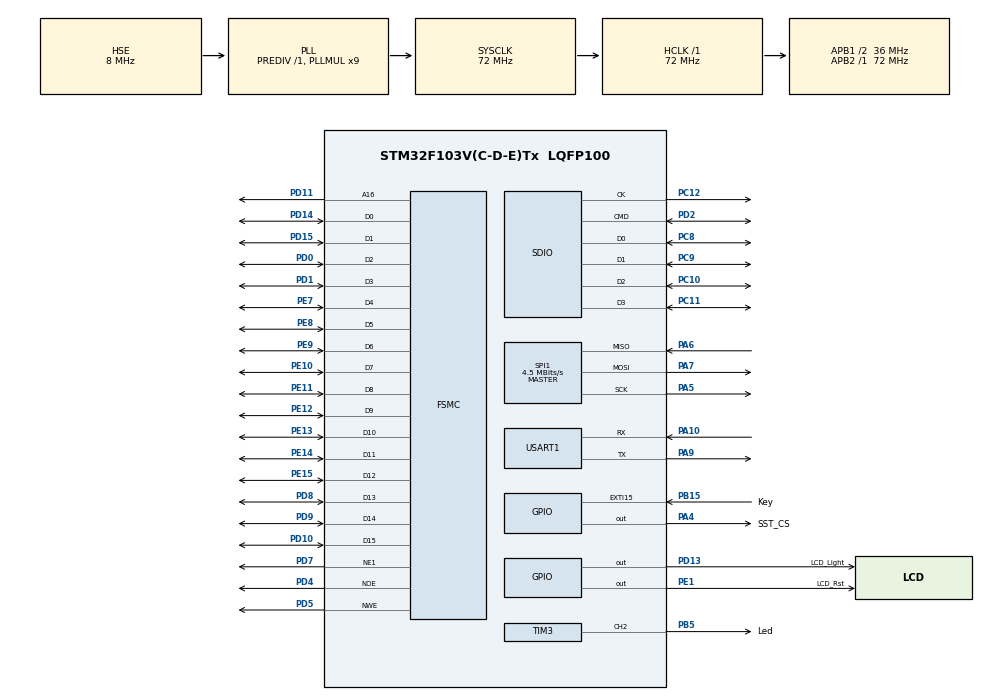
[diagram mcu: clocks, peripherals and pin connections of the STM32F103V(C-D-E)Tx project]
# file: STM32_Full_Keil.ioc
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ADC1.Channel-0\#ChannelRegularConversion=ADC_CHANNEL_TEMPSENSOR
ADC1.NbrOfConversionFlag=1
ADC1.Rank-0\#ChannelRegularConversion=1
ADC1.SamplingTime-0\#ChannelRegularConversion=ADC_SAMPLETIME_7CYCLES_5
ADC1.master=1
Dma.ADC1.2.Direction=DMA_PERIPH_TO_MEMORY
Dma.ADC1.2.Instance=DMA1_Channel1
Dma.ADC1.2.MemDataAlignment=DMA_MDATAALIGN_HALFWORD
Dma.ADC1.2.MemInc=DMA_MINC_ENABLE
Dma.ADC1.2.Mode=DMA_CIRCULAR
Dma.ADC1.2.PeriphDataAlignment=DMA_PDATAALIGN_HALFWORD
Dma.ADC1.2.PeriphInc=DMA_PINC_DISABLE
Dma.ADC1.2.Priority=DMA_PRIORITY_HIGH
Dma.Request0=USART1_RX
Dma.Request1=USART1_TX
Dma.Request2=ADC1
Dma.USART1_RX.0.Direction=DMA_PERIPH_TO_MEMORY
Dma.USART1_RX.0.Instance=DMA1_Channel5
Dma.USART1_RX.0.MemDataAlignment=DMA_MDATAALIGN_BYTE
Dma.USART1_RX.0.MemInc=DMA_MINC_ENABLE
Dma.USART1_RX.0.Mode=DMA_NORMAL
Dma.USART1_RX.0.PeriphDataAlignment=DMA_PDATAALIGN_BYTE
Dma.USART1_RX.0.PeriphInc=DMA_PINC_DISABLE
Dma.USART1_RX.0.Priority=DMA_PRIORITY_LOW
Dma.USART1_TX.1.Direction=DMA_MEMORY_TO_PERIPH
Dma.USART1_TX.1.Instance=DMA1_Channel4
Dma.USART1_TX.1.MemDataAlignment=DMA_MDATAALIGN_BYTE
Dma.USART1_TX.1.MemInc=DMA_MINC_ENABLE
Dma.USART1_TX.1.Mode=DMA_NORMAL
Dma.USART1_TX.1.PeriphDataAlignment=DMA_PDATAALIGN_BYTE
Dma.USART1_TX.1.PeriphInc=DMA_PINC_DISABLE
Dma.USART1_TX.1.Priority=DMA_PRIORITY_LOW
FREERTOS.Tasks01=defaultTask,0,128,StartDefaultTask,Default,NULL
FSMC.AddressSetupTime1=0x2
FSMC.BusTurnAroundDuration1=0
FSMC.DataSetupTime1=0x5
Mcu.Family=STM32F1
Mcu.Name=STM32F103V(C-D-E)Tx
Mcu.Package=LQFP100
NVIC.DMA1_Channel1_IRQn=true\:5\:0\:false\:false\:true\:true\:false\:true
NVIC.DMA1_Channel4_IRQn=true\:5\:0\:false\:false\:true\:true\:false\:true
NVIC.DMA1_Channel5_IRQn=true\:5\:0\:false\:false\:true\:true\:false\:true
NVIC.EXTI15_10_IRQn=true\:5\:0\:false\:false\:true\:true\:true\:true
NVIC.PriorityGroup=NVIC_PRIORITYGROUP_4
NVIC.TIM1_UP_IRQn=true\:0\:0\:false\:false\:true\:false\:false\:true
NVIC.TIM2_IRQn=true\:5\:0\:false\:false\:true\:true\:true\:true
NVIC.TIM4_IRQn=true\:5\:0\:false\:false\:true\:true\:true\:true
NVIC.TIM5_IRQn=true\:5\:0\:false\:false\:true\:true\:true\:true
NVIC.TimeBase=TIM1_UP_IRQn
NVIC.TimeBaseIP=TIM1
NVIC.USART1_IRQn=true\:5\:0\:false\:false\:true\:true\:true\:true
OSC_IN.Mode=HSE-External-Oscillator
OSC_IN.Signal=RCC_OSC_IN
OSC_OUT.Mode=HSE-External-Oscillator
OSC_OUT.Signal=RCC_OSC_OUT
PA10.Mode=Asynchronous
PA10.Signal=USART1_RX
PA4.GPIO_Label=SST_CS
PA4.GPIO_Speed=GPIO_SPEED_FREQ_HIGH
PA4.Signal=GPIO_Output
PA5.Mode=Full_Duplex_Master
PA5.Signal=SPI1_SCK
PA6.Mode=Full_Duplex_Master
PA6.Signal=SPI1_MISO
PA7.Mode=Full_Duplex_Master
PA7.Signal=SPI1_MOSI
PA9.Mode=Asynchronous
PA9.Signal=USART1_TX
PB15.GPIO_Label=Key
PB15.GPIO_ModeDefaultEXTI=GPIO_MODE_IT_FALLING
PB15.Signal=GPXTI15
PB5.GPIO_Label=Led
PB5.GPIO_Speed=GPIO_SPEED_FREQ_HIGH
PB5.Signal=S_TIM3_CH2
PC10.Mode=SD_4_bits_Wide_bus
PC10.Signal=SDIO_D2
PC11.Mode=SD_4_bits_Wide_bus
PC11.Signal=SDIO_D3
PC12.Mode=SD_4_bits_Wide_bus
PC12.Signal=SDIO_CK
PC14-OSC32_IN.Mode=LSE-External-Oscillator
PC14-OSC32_IN.Signal=RCC_OSC32_IN
PC15-OSC32_OUT.Mode=LSE-External-Oscillator
PC15-OSC32_OUT.Signal=RCC_OSC32_OUT
PC8.Mode=SD_4_bits_Wide_bus
PC8.Signal=SDIO_D0
PC9.Mode=SD_4_bits_Wide_bus
PC9.Signal=SDIO_D1
PD0.Mode=16b-d1
PD0.Signal=FSMC_D2
PD1.Mode=16b-d1
PD1.Signal=FSMC_D3
PD10.Mode=16b-d1
PD10.Signal=FSMC_D15
PD11.Mode=A16_1
PD11.Signal=FSMC_A16
PD13.GPIO_Label=LCD_Light
PD13.GPIO_Speed=GPIO_SPEED_FREQ_HIGH
PD13.Signal=GPIO_Output
PD14.Mode=16b-d1
PD14.Signal=FSMC_D0
PD15.Mode=16b-d1
PD15.Signal=FSMC_D1
PD2.Mode=SD_4_bits_Wide_bus
PD2.Signal=SDIO_CMD
PD4.Mode=Lcd1
PD4.Signal=FSMC_NOE
PD5.Mode=Lcd1
PD5.Signal=FSMC_NWE
PD7.Mode=NorPsramChipSelect1_1
PD7.Signal=FSMC_NE1
PD8.Mode=16b-d1
PD8.Signal=FSMC_D13
PD9.Mode=16b-d1
PD9.Signal=FSMC_D14
PE1.GPIO_Label=LCD_Rst
PE1.Signal=GPIO_Output
PE10.Mode=16b-d1
PE10.Signal=FSMC_D7
PE11.Mode=16b-d1
PE11.Signal=FSMC_D8
PE12.Mode=16b-d1
PE12.Signal=FSMC_D9
PE13.Mode=16b-d1
PE13.Signal=FSMC_D10
PE14.Mode=16b-d1
PE14.Signal=FSMC_D11
PE15.Mode=16b-d1
PE15.Signal=FSMC_D12
PE7.Mode=16b-d1
PE7.Signal=FSMC_D4
PE8.Mode=16b-d1
PE8.Signal=FSMC_D5
PE9.Mode=16b-d1
PE9.Signal=FSMC_D6
ProjectManager.HeapSize=0x2000
ProjectManager.StackSize=0x4000
ProjectManager.TargetToolchain=MDK-ARM V5
RCC.ADCPresc=RCC_ADCPCLK2_DIV6
RCC.AHBFreq_Value=72000000
RCC.APB1CLKDivider=RCC_HCLK_DIV2
RCC.APB1Freq_Value=36000000
RCC.APB1TimFreq_Value=72000000
RCC.APB2Freq_Value=72000000
RCC.APB2TimFreq_Value=72000000
RCC.HCLKFreq_Value=72000000
RCC.PLLMUL=RCC_PLL_MUL9
RCC.PLLSourceVirtual=RCC_PLLSOURCE_HSE
RCC.SYSCLKFreq_VALUE=72000000
RCC.SYSCLKSource=RCC_SYSCLKSOURCE_PLLCLK
RCC.USBFreq_Value=72000000
RTC.Date=13
RTC.Hours=16
RTC.Minutes=50
RTC.Month=RTC_MONTH_JULY
RTC.WeekDay=RTC_WEEKDAY_SATURDAY
RTC.Year=19
SDIO.ClockDiv=4
SH.S_TIM3_CH2.0=TIM3_CH2,PWM Generation2 CH2
SPI1.BaudRatePrescaler=SPI_BAUDRATEPRESCALER_16
SPI1.CLKPhase=SPI_PHASE_2EDGE
SPI1.CLKPolarity=SPI_POLARITY_HIGH
SPI1.CalculateBaudRate=4.5 MBits/s
SPI1.Direction=SPI_DIRECTION_2LINES
SPI1.Mode=SPI_MODE_MASTER
SPI1.VirtualType=VM_MASTER
TIM2.Period=1000-1
TIM2.Prescaler=72-1
TIM3.Channel-PWM\ Generation2\ CH2=TIM_CHANNEL_2
TIM3.Period=2000-1
TIM3.Prescaler=36000-1
TIM4.Period=1000-1
TIM4.Prescaler=72-1
TIM5.Period=1000-1
TIM5.Prescaler=72-1
TIM8.Period=1000-1
TIM8.Prescaler=72-1
USART1.VirtualMode=VM_ASYNC
VP_ADC1_TempSens_Input.Mode=IN-TempSens
VP_FATFS_VS_SDIO.Mode=SDIO
VP_FREERTOS_VS_CMSIS_V1.Mode=CMSIS_V1
VP_RTC_VS_RTC_Activate.Mode=RTC_Enabled
VP_RTC_VS_RTC_Calendar.Mode=RTC_Calendar
VP_SYS_VS_ND.Mode=No_Debug
VP_SYS_VS_tim1.Mode=TIM1
VP_TIM2_VS_ClockSourceINT.Mode=Internal
VP_TIM4_VS_ClockSourceINT.Mode=Internal
VP_TIM5_VS_ClockSourceINT.Mode=Internal
VP_TIM8_VS_ClockSourceINT.Mode=Internal
board=custom

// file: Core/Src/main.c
/* USER CODE BEGIN Header */
/**
  ******************************************************************************
  * @file           : main.c
  * @brief          : Main program body
  ******************************************************************************
  * @attention
  *
  * <h2><center>&copy; Copyright (c) 2019 STMicroelectronics.
  * All rights reserved.</center></h2>
  *
  * This software component is licensed by ST under Ultimate Liberty license
  * SLA0044, the "License"; You may not use this file except in compliance with
  * the License. You may obtain a copy of the License at:
  *                             www.st.com/SLA0044
  *
  ******************************************************************************
  */
/* USER CODE END Header */

#include "main.h"
#include "cmsis_os.h"
#include "adc.h"
#include "dma.h"
#include "fatfs.h"
#include "rtc.h"
#include "sdio.h"
#include "spi.h"
#include "tim.h"
#include "usart.h"
#include "gpio.h"
#include "fsmc.h"

/* USER CODE BEGIN Includes */
#include "lcd.h"
#include "spc.h"
#include "eeprom.h"
#include "cli.h"
#include "statemachine.h"
/* USER CODE END Includes */

/* USER CODE BEGIN PV */
uint8_t timeStr[40] = {0};
RTC_TimeTypeDef sTime = {0};
RTC_DateTypeDef DateToUpdate = {0};

volatile uint32_t ulHighFrequencyTimerTicks = 0;
volatile uint32_t spctick = 0;
/* USER CODE END PV */

void SystemClock_Config(void);
void MX_FREERTOS_Init(void);

int main(void)
{

  /* MCU Configuration--------------------------------------------------------*/

  /* Reset of all peripherals, Initializes the Flash interface and the Systick. */
  HAL_Init();

  /* Configure the system clock */
  SystemClock_Config();

  /* Initialize all configured peripherals */
  MX_GPIO_Init();
	MX_DMA_Init();
  MX_ADC1_Init();
  MX_FSMC_Init();
  MX_RTC_Init();
	MX_SPI1_Init();
  MX_TIM2_Init();
  MX_TIM3_Init();
  MX_TIM4_Init();
  MX_TIM5_Init();
  MX_TIM8_Init();
	MX_USART1_UART_Init();
  MX_SDIO_SD_Init();
	MX_FATFS_Init();
  /* USER CODE BEGIN 2 */
	HAL_TIM_PWM_Start(&htim3, TIM_CHANNEL_2);
	HAL_TIM_Base_Start_IT(&htim5);
  LCD_Init();
	SPC_Init();
	Cli_Init();
  statemachine_Init();

	HAL_ADC_Start_DMA(&hadc1, (uint32_t*)&ADC_Value, ADC_SAMPLE_RATE);
  /* USER CODE END 2 */

  /* Call init function for freertos objects (in freertos.c) */
  MX_FREERTOS_Init();

  /* Start scheduler */
  osKernelStart();

  /* We should never get here as control is now taken by the scheduler */

  /* Infinite loop */
  while (1)
  {

  }
}

void SystemClock_Config(void)
{
  RCC_OscInitTypeDef RCC_OscInitStruct = {0};
  RCC_ClkInitTypeDef RCC_ClkInitStruct = {0};
  RCC_PeriphCLKInitTypeDef PeriphClkInit = {0};

  /** Initializes the CPU, AHB and APB busses clocks
  */
  RCC_OscInitStruct.OscillatorType = RCC_OSCILLATORTYPE_LSI|RCC_OSCILLATORTYPE_HSE;
  RCC_OscInitStruct.HSEState = RCC_HSE_ON;
  RCC_OscInitStruct.HSEPredivValue = RCC_HSE_PREDIV_DIV1;
  RCC_OscInitStruct.HSIState = RCC_HSI_ON;
  RCC_OscInitStruct.LSIState = RCC_LSI_ON;
  RCC_OscInitStruct.PLL.PLLState = RCC_PLL_ON;
  RCC_OscInitStruct.PLL.PLLSource = RCC_PLLSOURCE_HSE;
  RCC_OscInitStruct.PLL.PLLMUL = RCC_PLL_MUL9;
  if (HAL_RCC_OscConfig(&RCC_OscInitStruct) != HAL_OK)
  {
    Error_Handler();
  }
  /** Initializes the CPU, AHB and APB busses clocks
  */
  RCC_ClkInitStruct.ClockType = RCC_CLOCKTYPE_HCLK|RCC_CLOCKTYPE_SYSCLK
                              |RCC_CLOCKTYPE_PCLK1|RCC_CLOCKTYPE_PCLK2;
  RCC_ClkInitStruct.SYSCLKSource = RCC_SYSCLKSOURCE_PLLCLK;
  RCC_ClkInitStruct.AHBCLKDivider = RCC_SYSCLK_DIV1;
  RCC_ClkInitStruct.APB1CLKDivider = RCC_HCLK_DIV2;
  RCC_ClkInitStruct.APB2CLKDivider = RCC_HCLK_DIV1;

  if (HAL_RCC_ClockConfig(&RCC_ClkInitStruct, FLASH_LATENCY_2) != HAL_OK)
  {
    Error_Handler();
  }
  PeriphClkInit.PeriphClockSelection = RCC_PERIPHCLK_RTC|RCC_PERIPHCLK_ADC;
  PeriphClkInit.RTCClockSelection = RCC_RTCCLKSOURCE_LSI;
  PeriphClkInit.AdcClockSelection = RCC_ADCPCLK2_DIV6;
  if (HAL_RCCEx_PeriphCLKConfig(&PeriphClkInit) != HAL_OK)
  {
    Error_Handler();
  }
}

/* USER CODE BEGIN 4 */
void HAL_UART_RxCpltCallback(UART_HandleTypeDef *huart)
{
	uint16_t val = 0;
  /* Prevent unused argument(s) compilation warning */
  if(huart == &huart1) {
	  HAL_UART_Transmit_DMA(&huart1,UsartTxBuf,16);
		val = ((uint16_t) UsartRxBuf[0] << 8) | UsartRxBuf[1];
		osMessagePut (CliQueueHandle, val, 100);
	}
  /* NOTE: This function Should not be modified, when the callback is needed,
           the HAL_UART_RxCpltCallback could be implemented in the user file
   */
}

void HAL_UART_TxCpltCallback(UART_HandleTypeDef *huart)
{
  /* Prevent unused argument(s) compilation warning */

  /* NOTE: This function Should not be modified, when the callback is needed,
           the HAL_UART_TxCpltCallback could be implemented in the user file
   */
}

void HAL_UART_ErrorCallback(UART_HandleTypeDef *huart)
{
  /* Prevent unused argument(s) compilation warning */
  if(huart == &huart1) {
    tftprintf("Some error happened in Uart");
  }
  /* NOTE: This function Should not be modified, when the callback is needed,
           the HAL_UART_ErrorCallback could be implemented in the user file
   */
}
/* USER CODE END 4 */

void HAL_TIM_PeriodElapsedCallback(TIM_HandleTypeDef *htim)
{
  if (htim->Instance == TIM1) {
    HAL_IncTick();
  } else if (htim->Instance == TIM5) {
    ulHighFrequencyTimerTicks++;
    spctick++;
  }
}

void Error_Handler(void)
{
}

/************************ (C) COPYRIGHT STMicroelectronics *****END OF FILE****/

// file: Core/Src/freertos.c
/* USER CODE BEGIN Header */
/**
  ******************************************************************************
  * File Name          : freertos.c
  * Description        : Code for freertos applications
  ******************************************************************************
  * @attention
  *
  * <h2><center>&copy; Copyright (c) 2019 STMicroelectronics.
  * All rights reserved.</center></h2>
  *
  * This software component is licensed by ST under Ultimate Liberty license
  * SLA0044, the "License"; You may not use this file except in compliance with
  * the License. You may obtain a copy of the License at:
  *                             www.st.com/SLA0044
  *
  ******************************************************************************
  */
/* USER CODE END Header */

#include "FreeRTOS.h"
#include "task.h"
#include "main.h"
#include "cmsis_os.h"

/* USER CODE BEGIN Includes */
#include "lcd.h"
#include "cli.h"
#include "usart.h"
/* USER CODE END Includes */

void MX_FREERTOS_Init(void); /* (MISRA C 2004 rule 8.1) */

void MX_FREERTOS_Init(void) {

  /* Create the thread(s) */
  /* definition and creation of defaultTask */

}

/* USER CODE BEGIN Application */
#define tskRUNNING_CHAR		( 'X' )
#define tskBLOCKED_CHAR		( 'B' )
#define tskREADY_CHAR		( 'R' )
#define tskDELETED_CHAR		( 'D' )
#define tskSUSPENDED_CHAR	( 'S' )
void cliShowTaskInfo(void *arg)
{
  UNUSED(arg);

  char cStatus;
  uint16_t array;
  uint32_t TotalRunTime, ulStatsAsPercentage;
  UBaseType_t ArraySize;
  TaskStatus_t *StatusArray;
  ArraySize = uxTaskGetNumberOfTasks();
  StatusArray = pvPortMalloc(ArraySize*sizeof(TaskStatus_t));

  if( StatusArray != NULL ) {
    ArraySize = uxTaskGetSystemState((TaskStatus_t* ) StatusArray,
                                     (UBaseType_t) ArraySize,
                                     (uint32_t*) &TotalRunTime);

    uartprintf("TotalRunTime : %ld\r\n", TotalRunTime);
    uartprintf("  %-20s%-10s%-10s%-10s%-10s%-10s%s\r\n", "TaskName", "TaskStat", "TaskPrio", "StackMin",
                "TaskNum", "TakRTim", "Avg");
    for(array=0; array<ArraySize; array++) {
      switch(StatusArray[array].eCurrentState) {
        case eRunning:    cStatus = tskRUNNING_CHAR;
          break;
        case eReady:    cStatus = tskREADY_CHAR;
          break;
        case eBlocked:    cStatus = tskBLOCKED_CHAR;
          break;
        case eSuspended:  cStatus = tskSUSPENDED_CHAR;
          break;
        case eDeleted:    cStatus = tskDELETED_CHAR;
          break;
        case eInvalid:    /* Fall through. */
        default:      /* Should not get here, but it is included
                  to prevent static checking errors. */
          cStatus = (char) 0x00;
          break;
      }
      ulStatsAsPercentage = (StatusArray[array].ulRunTimeCounter * 100) / TotalRunTime;

			char avgStr[10] = {0};
			if (ulStatsAsPercentage == 0) {
			  snprintf(avgStr, 10, "%s", "<1");
			} else {
			  snprintf(avgStr, 10, "%u", ulStatsAsPercentage);
			}

      uartprintf("  %-20s%-10c%-10u%-10u%-10u%-10u%s\r\n",
              StatusArray[array].pcTaskName,
              cStatus,
              (unsigned int) StatusArray[array].uxCurrentPriority,
              (unsigned int) StatusArray[array].usStackHighWaterMark,
              (unsigned int) StatusArray[array].xTaskNumber,
              (unsigned int) StatusArray[array].ulRunTimeCounter,
              avgStr);
    }

    vPortFree(StatusArray);
  } else {
    mtCOVERAGE_TEST_MARKER();
  }
}
/* USER CODE END Application */

/************************ (C) COPYRIGHT STMicroelectronics *****END OF FILE****/
